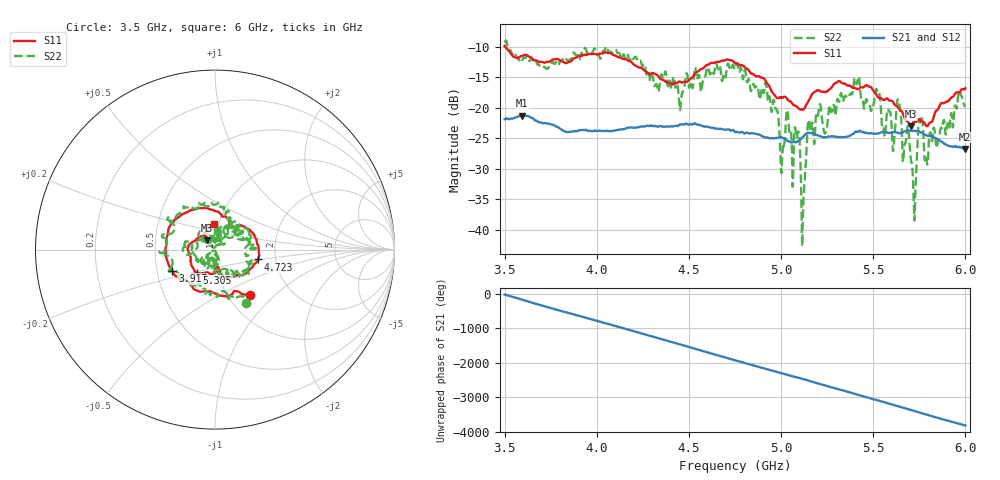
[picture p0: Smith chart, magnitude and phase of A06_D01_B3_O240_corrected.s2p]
! Created with skrf 1.9.0 (http://scikit-rf.org).
# Hz S RI R 50.0
!freq ReS11 ImS11 ReS21 ImS21 ReS12 ImS12 ReS22 ImS22
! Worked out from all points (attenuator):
!   1601 points, 3.5 GHz to 6 GHz, reference 50 ohm
!   highest |S21| = -21.29 dB at 3.592 GHz (marker M1); lowest = -26.8 dB at 5.998 GHz (marker M2)
!   lowest |S11| = -23.1 dB at 5.703 GHz (marker M3), VSWR 1.15, Z = 45.3 + j4.79 ohm
!   |S11| at or under -10 dB: 3.504 GHz to end of sweep
!   |S22| runs from -42.7 to -9.0 dB; largest |S21 - S12| = 0.0013
!   S11 on the Smith chart (normalised r, x): 3.5 GHz: 1.26, -0.71; 3.917 GHz: 0.60, -0.15; 4.723 GHz: 1.61, -0.19; 5.305 GHz: 0.79, -0.21; 6 GHz: 0.95, +0.28
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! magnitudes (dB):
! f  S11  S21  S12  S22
! 3.5 GHz  -9.9  -21.9  -21.9  -9.3
! 3.592 GHz  -11.5  -21.3  -21.3  -12.5
! 3.917 GHz  -11.5  -23.7  -23.7  -11.0
! 4.334 GHz  -14.9  -23.1  -23.1  -17.4
! 4.723 GHz  -12.2  -23.7  -23.7  -13.9
! 4.75 GHz  -12.7  -24.0  -23.9  -13.7
! 4.969 GHz  -18.1  -25.0  -25.0  -20.0
! 5.005 GHz  -18.3  -24.9  -24.9  -28.8
! 5.086 GHz  -19.8  -25.6  -25.6  -24.9
! 5.119 GHz  -20.3  -24.8  -24.7  -37.8
! 5.145 GHz  -19.1  -24.1  -24.1  -22.7
! 5.167 GHz  -17.8  -24.2  -24.2  -22.6
! 5.305 GHz  -15.8  -24.8  -24.7  -18.7
! 5.411 GHz  -16.9  -24.0  -24.0  -15.9
! 5.584 GHz  -18.8  -24.1  -24.1  -20.5
! 5.639 GHz  -20.2  -24.2  -24.2  -19.1
! 5.703 GHz  -23.1  -23.8  -23.8  -28.2
! 5.723 GHz  -22.3  -23.8  -23.8  -38.5
! 5.756 GHz  -22.0  -24.0  -24.0  -22.4
! 5.787 GHz  -23.0  -24.5  -24.5  -27.9
! 5.998 GHz  -16.9  -26.8  -26.7  -19.8
! 6 GHz  -16.8  -26.7  -26.7  -19.8
